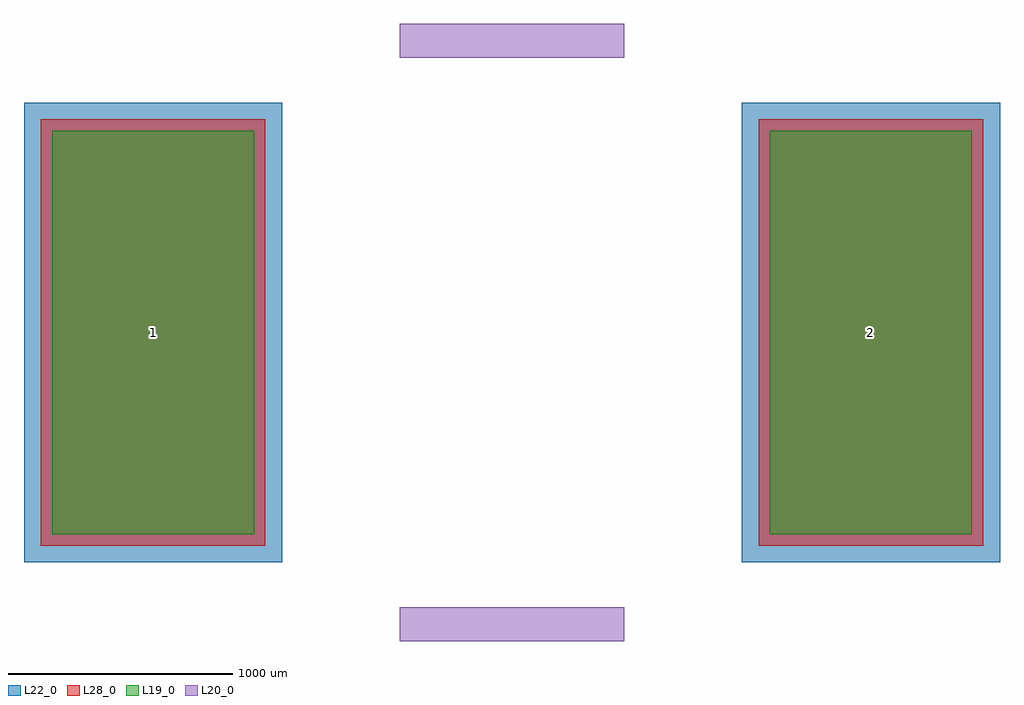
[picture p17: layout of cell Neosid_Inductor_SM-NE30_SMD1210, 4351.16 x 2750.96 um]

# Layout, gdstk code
import gdstk
lib = gdstk.Library(unit=1e-6, precision=1e-09)
def R(c, l, rs):  # rectangles x0, y0, x1, y1
    for r in rs: c.add(gdstk.rectangle(r[:2], r[2:], *l))
L19_0 = (19, 0)
L20_0 = (20, 0)
L22_0 = (22, 0)
L28_0 = (28, 0)

neosid_inductor_sm_ne30_ = lib.new_cell('Neosid_Inductor_SM-NE30_SMD1210')
R(neosid_inductor_sm_ne30_, L19_0, [(-2050.58,-899.96,-1149.82,899.96), (1149.82,-899.96,2050.58,899.96)])
R(neosid_inductor_sm_ne30_, L22_0, [(-2175.58,-1024.96,-1024.82,1024.96), (1024.82,-1024.96,2175.58,1024.96)])
R(neosid_inductor_sm_ne30_, L28_0, [(-2100.58,-949.96,-1099.82,949.96), (1099.82,-949.96,2100.58,949.96)])
neosid_inductor_sm_ne30_.add(gdstk.FlexPath([(500.38,1300.48),(-500.38,1300.48)], 149.998, ends="flush", simple_path=True, layer=20, datatype=0))  # L20_0
neosid_inductor_sm_ne30_.add(gdstk.FlexPath([(500.38,-1300.48),(-500.38,-1300.48)], 149.998, ends="flush", simple_path=True, layer=20, datatype=0))  # L20_0
neosid_inductor_sm_ne30_.add(gdstk.Label('1', (-1600.2,0), layer=28, texttype=0))
neosid_inductor_sm_ne30_.add(gdstk.Label('2', (1600.2,0), layer=28, texttype=0))
neosid_inductor_sm_ne30_.add(gdstk.Label('type', (0,-3200.4), layer=9, texttype=0))
neosid_inductor_sm_ne30_.add(gdstk.Label('devicename', (-200.66,3200.4), layer=9, texttype=0))

lib.write_gds('Neosid_Inductor_SM-NE30_SMD1210.gds')
